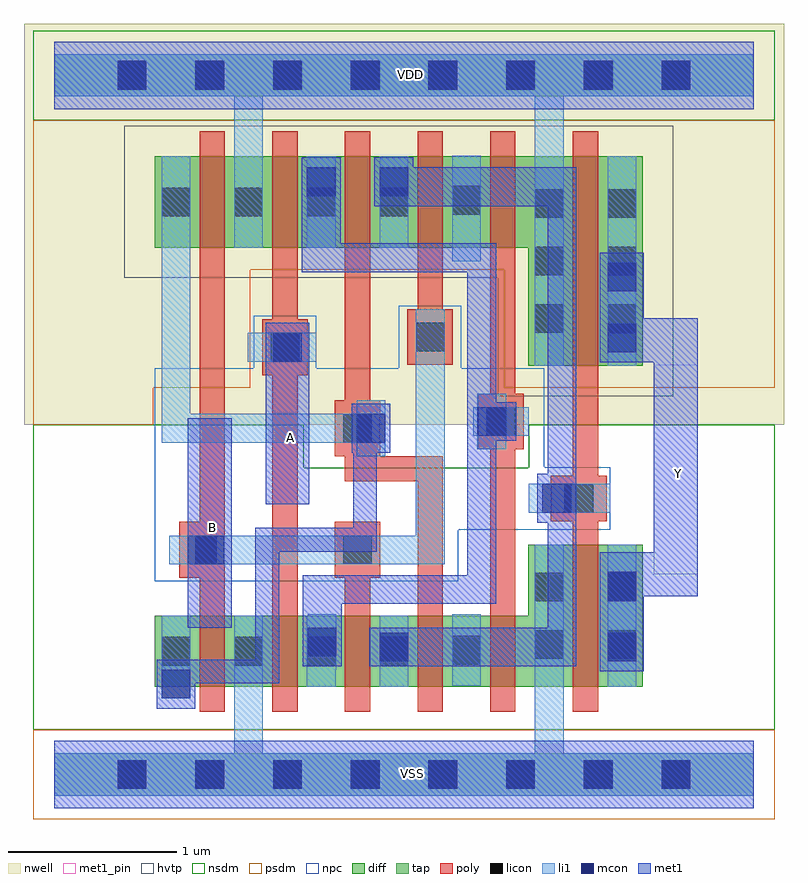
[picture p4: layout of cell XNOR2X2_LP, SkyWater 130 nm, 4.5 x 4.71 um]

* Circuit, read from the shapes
.subckt XNOR2X2_LP A B VDD VSS Y
XM1 VSS B n1 VSS sky130_fd_pr__nfet_01v8 w=0.42 l=0.15
XM2 n2 A VSS VSS sky130_fd_pr__nfet_01v8 w=0.42 l=0.15
XM3 n3 B n2 VSS sky130_fd_pr__nfet_01v8 w=0.42 l=0.15
XM4 n4 n1 n3 VSS sky130_fd_pr__nfet_01v8 w=0.42 l=0.15
XM5 VSS n2 n4 VSS sky130_fd_pr__nfet_01v8 w=0.42 l=0.15
XM6 Y n3 VSS VSS sky130_fd_pr__nfet_01v8 w=0.84 l=0.15
XM7 VDD B n1 VDD sky130_fd_pr__pfet_01v8_hvt w=0.54 l=0.15
XM8 n2 A VDD VDD sky130_fd_pr__pfet_01v8_hvt w=0.54 l=0.15
XM9 n3 n1 n2 VDD sky130_fd_pr__pfet_01v8_hvt w=0.54 l=0.15
XM10 n5 B n3 VDD sky130_fd_pr__pfet_01v8_hvt w=0.54 l=0.15
XM11 VDD n2 n5 VDD sky130_fd_pr__pfet_01v8_hvt w=0.54 l=0.15
XM12 Y n3 VDD VDD sky130_fd_pr__pfet_01v8_hvt w=1.24 l=0.15
.ends

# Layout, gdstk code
from math import pi, radians
import gdstk
lib = gdstk.Library(unit=1e-6, precision=1e-09)
def R(c, l, rs):  # rectangles x0, y0, x1, y1
    for r in rs: c.add(gdstk.rectangle(r[:2], r[2:], *l))
def A(c, l, x, y, w, h, nx, ny, dx, dy):  # array of equal rectangles
    R(c, l, [(x+i*dx, y+j*dy, x+i*dx+w, y+j*dy+h) for i in range(nx) for j in range(ny)])
def P(c, l, *ps):  # polygons
    for p in ps: c.add(gdstk.Polygon(p, *l))
nwell = (64, 20)
diff = (65, 20)
tap = (65, 44)
poly = (66, 20)
licon = (66, 44)
li1 = (67, 20)
mcon = (67, 44)
met1_pin = (68, 16)
met1 = (68, 20)
hvtp = (78, 44)
nsdm = (93, 44)
psdm = (94, 20)
npc = (95, 20)

l1m1_c_cdns_758729379651 = lib.new_cell('L1M1_C_CDNS_7587293796513')
R(l1m1_c_cdns_758729379651, li1, [(-0.085,-0.085,0.085,0.165)])
R(l1m1_c_cdns_758729379651, mcon, [(-0.085,-0.085,0.085,0.085)])
R(l1m1_c_cdns_758729379651, met1, [(-0.115,-0.145,0.115,0.145)])

l1m1_c_cdns_758729379655 = lib.new_cell('L1M1_C_CDNS_758729379655')
R(l1m1_c_cdns_758729379655, li1, [(-0.085,-0.165,0.085,0.165)])
R(l1m1_c_cdns_758729379655, mcon, [(-0.085,-0.085,0.085,0.085)])
R(l1m1_c_cdns_758729379655, met1, [(-0.115,-0.145,0.115,0.145)])

pyl1con_c_cdns_758729379 = lib.new_cell('PYL1CON_C_CDNS_758729379653')
R(pyl1con_c_cdns_758729379, poly, [(-0.135,-0.165,0.135,0.165)])
R(pyl1con_c_cdns_758729379, licon, [(-0.085,-0.085,0.085,0.085)])
R(pyl1con_c_cdns_758729379, npc, [(-0.185,-0.185,0.185,0.185)])

l1m1_c_cdns_758729379658 = lib.new_cell('L1M1_C_CDNS_758729379658')
R(l1m1_c_cdns_758729379658, li1, [(-0.085,-0.165,0.085,0.085)])
R(l1m1_c_cdns_758729379658, mcon, [(-0.085,-0.085,0.085,0.085)])
R(l1m1_c_cdns_758729379658, met1, [(-0.115,-0.145,0.115,0.145)])

l1m1_c_cdns_758729379652 = lib.new_cell('L1M1_C_CDNS_758729379652')
R(l1m1_c_cdns_758729379652, li1, [(-0.085,-0.165,0.085,0.165)])
R(l1m1_c_cdns_758729379652, mcon, [(-0.085,-0.085,0.085,0.085)])
R(l1m1_c_cdns_758729379652, met1, [(-0.145,-0.115,0.145,0.115)])

l1m1_c_cdns_758729379659 = lib.new_cell('L1M1_C_CDNS_758729379659')
R(l1m1_c_cdns_758729379659, li1, [(-0.085,-0.345,0.085,0.345)])
R(l1m1_c_cdns_758729379659, mcon, [(-0.085,-0.265,0.085,-0.095), (-0.085,0.095,0.085,0.265)])
R(l1m1_c_cdns_758729379659, met1, [(-0.115,-0.325,0.115,0.325)])

l1m1_c_cdns_758729379654 = lib.new_cell('L1M1_C_CDNS_758729379654')
R(l1m1_c_cdns_758729379654, li1, [(-0.165,-0.085,0.165,0.085)])
R(l1m1_c_cdns_758729379654, mcon, [(-0.085,-0.085,0.085,0.085)])
R(l1m1_c_cdns_758729379654, met1, [(-0.115,-0.145,0.115,0.145)])

xnor2x2_lp = lib.new_cell('XNOR2X2_LP')
R(xnor2x2_lp, nwell, [(-0.18,2.07,4.32,4.445)])
P(xnor2x2_lp, diff, [(3.485,3.66),(0.595,3.66),(0.595,3.12),(2.805,3.12),(2.805,2.42),(3.485,2.42)],
  [(3.485,1.36),(2.805,1.36),(2.805,0.94),(0.595,0.94),(0.595,0.52),(3.485,0.52)])
R(xnor2x2_lp, poly, [(0.86,0.37,1.01,3.81), (1.29,0.37,1.44,3.81), (1.72,0.37,1.87,1.33), (2.58,0.37,2.73,3.81), (3.07,0.37,3.22,3.81), (2.15,2.59,2.3,3.81)])
P(xnor2x2_lp, poly, [(2.3,1.885),(1.93,1.885),(1.93,2.215),(1.87,2.215),(1.87,3.81),(1.72,3.81),(1.72,2.215),(1.66,2.215),(1.66,1.885),(1.72,1.885),(1.72,1.735),(2.15,1.735),(2.15,0.37),(2.3,0.37)])
A(xnor2x2_lp, licon, 0.375, -0.085, 0.17, 0.17, 8, 2, 0.46, 4.14)
A(xnor2x2_lp, licon, 0.635, 0.645, 0.17, 0.17, 4, 2, 0.43, 2.66)
A(xnor2x2_lp, licon, 2.845, 2.615, 0.17, 0.17, 1, 3, 0, 0.34)
A(xnor2x2_lp, licon, 3.275, 2.615, 0.17, 0.17, 1, 3, 0, 0.34)
R(xnor2x2_lp, licon, [(2.355,0.65,2.525,0.82), (2.845,0.685,3.015,0.855), (3.275,0.685,3.445,0.855), (2.845,1.025,3.015,1.195), (3.275,1.025,3.445,1.195), (2.355,3.315,2.525,3.485)])
R(xnor2x2_lp, li1, [(0.635,0.52,0.805,0.94), (1.495,0.52,1.665,0.94), (1.925,0.52,2.095,0.94), (3.275,0.52,3.445,1.36), (2.355,0.525,2.525,0.95), (3.275,2.42,3.445,3.66), (2.355,3.04,2.525,3.665), (1.495,3.12,1.665,3.66), (1.925,3.12,2.095,3.66)])
P(xnor2x2_lp, li1, [(1.96,2.135),(0.805,2.135),(0.805,3.66),(0.635,3.66),(0.635,1.965),(1.96,1.965)],
  [(2.31,2.755),(2.14,2.755),(2.14,1.415),(0.68,1.415),(0.68,1.245),(2.31,1.245)],
  [(4.14,4.265),(0,4.265),(0,4.015),(1.065,4.015),(1.065,3.12),(1.235,3.12),(1.235,4.015),(2.845,4.015),(2.845,2.42),(3.015,2.42),(3.015,4.015),(4.14,4.015)],
  [(4.14,0.125),(3.015,0.125),(3.015,1.36),(2.845,1.36),(2.845,0.125),(1.235,0.125),(1.235,0.94),(1.065,0.94),(1.065,0.125),(0,0.125),(0,-0.125),(4.14,-0.125)])
A(xnor2x2_lp, mcon, 0.375, -0.085, 0.17, 0.17, 8, 2, 0.46, 4.14)
R(xnor2x2_lp, met1_pin, [(0.79,0.87,1.05,2.11), (3.55,1.185,3.81,2.425), (1.25,1.6,1.51,2.675)])
P(xnor2x2_lp, met1, [(1.91,2.05),(1.77,2.05),(1.77,1.46),(1.19,1.46),(1.19,0.68),(0.605,0.68),(0.605,0.535),(0.835,0.535),(0.835,0.54),(1.33,0.54),(1.33,1.32),(1.91,1.32)],
  [(2.615,3.145),(1.695,3.145),(1.695,3.51),(1.465,3.51),(1.465,2.975),(2.445,2.975),(2.445,1.18),(1.47,1.18),(1.47,0.85),(1.7,0.85),(1.7,1.01),(2.615,1.01)],
  [(3.09,3.595),(2.01,3.595),(2.01,3.365),(2.92,3.365),(2.92,0.87),(2,0.87),(2,0.64),(3.09,0.64)])
P(xnor2x2_lp, hvtp, [(3.665,3.84),(0.415,3.84),(0.415,2.94),(2.625,2.94),(2.625,2.24),(3.665,2.24)])
R(xnor2x2_lp, nsdm, [(-0.125,3.875,4.265,4.405)])
P(xnor2x2_lp, nsdm, [(4.265,2.07),(2.81,2.07),(2.81,1.815),(1.475,1.815),(1.475,2.07),(-0.125,2.07),(-0.125,0.265),(4.265,0.265)])
R(xnor2x2_lp, psdm, [(-0.125,-0.265,4.265,0.265)])
P(xnor2x2_lp, psdm, [(4.265,3.875),(-0.125,3.875),(-0.125,2.07),(0.585,2.07),(0.585,2.29),(1.16,2.29),(1.16,2.99),(2.665,2.99),(2.665,2.29),(4.265,2.29)])
P(xnor2x2_lp, npc, [(3.29,1.82),(2.9,1.82),(2.9,2.405),(0.595,2.405),(0.595,1.145),(2.39,1.145),(2.39,1.45),(3.29,1.45)])
xnor2x2_lp.add(gdstk.FlexPath([(1.145,2.53),(1.55,2.53)], 0.17, ends="flush", simple_path=True, layer=67, datatype=20))  # li1
xnor2x2_lp.add(gdstk.FlexPath([(2.48,2.09),(2.81,2.09)], 0.17, ends="flush", simple_path=True, layer=67, datatype=20))  # li1
xnor2x2_lp.add(gdstk.FlexPath([(2.985,1.635),(3.29,1.635)], 0.17, ends="flush", simple_path=True, layer=67, datatype=20))  # li1
xnor2x2_lp.add(gdstk.FlexPath([(0,4.14),(4.14,4.14)], 0.4, ends="flush", simple_path=True, layer=68, datatype=16))  # met1_pin
xnor2x2_lp.add(gdstk.FlexPath([(0,0),(4.14,0)], 0.4, ends="flush", simple_path=True, layer=68, datatype=16))  # met1_pin
xnor2x2_lp.add(gdstk.FlexPath([(0,4.14),(4.14,4.14)], 0.4, ends="flush", simple_path=True, layer=68, datatype=20))  # met1
xnor2x2_lp.add(gdstk.FlexPath([(0,0),(4.14,0)], 0.4, ends="flush", simple_path=True, layer=68, datatype=20))  # met1
xnor2x2_lp.add(gdstk.FlexPath([(3.36,0.935),(3.36,1.185),(3.68,1.185),(3.68,2.57),(3.36,2.57),(3.36,2.765)], 0.26, ends=(0.325, 0.325), simple_path=True, layer=68, datatype=20))  # met1
xnor2x2_lp.add(gdstk.FlexPath([(1.38,1.6),(1.38,2.675)], 0.26, ends="flush", simple_path=True, layer=68, datatype=20))  # met1
xnor2x2_lp.add(gdstk.FlexPath([(0.92,0.87),(0.92,2.11)], 0.26, ends="flush", simple_path=True, layer=68, datatype=20))  # met1
xnor2x2_lp.add(gdstk.FlexPath([(0,4.14),(4.14,4.14)], 0.25, ends="flush", simple_path=True, layer=65, datatype=44))  # tap
xnor2x2_lp.add(gdstk.FlexPath([(0,0),(4.14,0)], 0.25, ends="flush", simple_path=True, layer=65, datatype=44))  # tap
xnor2x2_lp.add(gdstk.Reference(l1m1_c_cdns_758729379651, (0.72,0.535)))
xnor2x2_lp.add(gdstk.Reference(l1m1_c_cdns_758729379655, (1.585,0.785)))
xnor2x2_lp.add(gdstk.Reference(l1m1_c_cdns_758729379655, (1.875,2.05), rotation=pi))
xnor2x2_lp.add(gdstk.Reference(pyl1con_c_cdns_758729379, (0.875,1.33)))
xnor2x2_lp.add(gdstk.Reference(pyl1con_c_cdns_758729379, (2.225,2.59)))
xnor2x2_lp.add(gdstk.Reference(pyl1con_c_cdns_758729379, (1.365,2.53)))
xnor2x2_lp.add(gdstk.Reference(pyl1con_c_cdns_758729379, (3.105,1.635), rotation=3*pi/2))
xnor2x2_lp.add(gdstk.Reference(pyl1con_c_cdns_758729379, (1.795,1.33)))
xnor2x2_lp.add(gdstk.Reference(pyl1con_c_cdns_758729379, (2.645,2.09)))
xnor2x2_lp.add(gdstk.Reference(pyl1con_c_cdns_758729379, (1.795,2.05)))
xnor2x2_lp.add(gdstk.Reference(l1m1_c_cdns_758729379658, (2.01,3.51)))
xnor2x2_lp.add(gdstk.Reference(l1m1_c_cdns_758729379658, (1.58,3.51)))
xnor2x2_lp.add(gdstk.Reference(l1m1_c_cdns_758729379652, (2.01,0.755)))
xnor2x2_lp.add(gdstk.Reference(l1m1_c_cdns_758729379659, (3.36,0.935)))
xnor2x2_lp.add(gdstk.Reference(l1m1_c_cdns_758729379659, (3.36,2.765)))
xnor2x2_lp.add(gdstk.Reference(l1m1_c_cdns_758729379654, (2.975,1.635)))
xnor2x2_lp.add(gdstk.Reference(l1m1_c_cdns_758729379654, (1.38,2.53), x_reflection=True))
xnor2x2_lp.add(gdstk.Reference(l1m1_c_cdns_758729379654, (2.59,2.09), rotation=3*pi/2))
xnor2x2_lp.add(gdstk.Reference(l1m1_c_cdns_758729379654, (0.92,1.33), x_reflection=True))
xnor2x2_lp.add(gdstk.Label('VSS', (2.12,0.005), layer=68, texttype=5))
xnor2x2_lp.add(gdstk.Label('VDD', (2.11,4.145), layer=68, texttype=5))
xnor2x2_lp.add(gdstk.Label('Y', (3.695,1.78), layer=68, texttype=5))
xnor2x2_lp.add(gdstk.Label('A', (1.395,1.995), layer=68, texttype=5))
xnor2x2_lp.add(gdstk.Label('B', (0.935,1.465), layer=68, texttype=5))

lib.write_gds('XNOR2X2_LP.gds')
